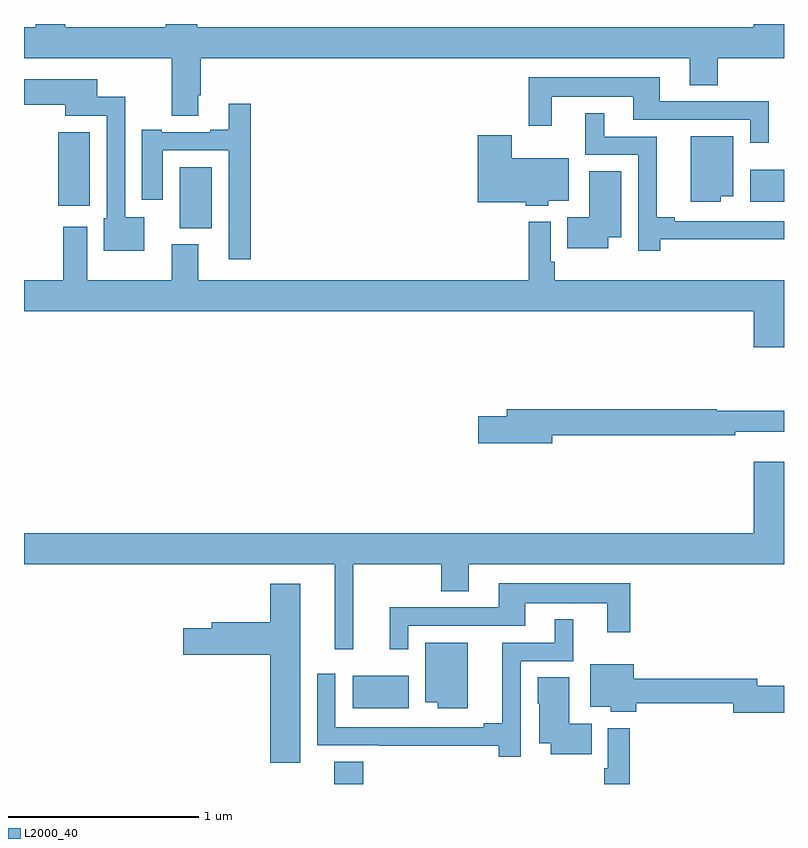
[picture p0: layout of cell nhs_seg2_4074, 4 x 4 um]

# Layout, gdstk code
import gdstk
lib = gdstk.Library(unit=1e-6, precision=1e-09)
def R(c, l, rs):  # rectangles x0, y0, x1, y1
    for r in rs: c.add(gdstk.rectangle(r[:2], r[2:], *l))
def P(c, l, *ps):  # polygons
    for p in ps: c.add(gdstk.Polygon(p, *l))
L2000_40 = (2000, 40)

nhs_seg2_4074 = lib.new_cell('nhs_seg2_4074')
R(nhs_seg2_4074, L2000_40, [(330.632,659.8,330.785,659.918), (330.731,660.2,331.024,660.37), (329.819,662.726,329.989,663.046), (329.18,662.843,329.347,663.229), (332.822,662.864,333,663.034)])
P(nhs_seg2_4074, L2000_40, [(329.917,663.424),(329.93,663.424),(329.93,663.62),(332.504,663.62),(332.504,663.478),(332.652,663.478),(332.652,663.62),(333,663.62),(333,663.8),(332.84,663.8),(332.84,663.784),(329.912,663.784),(329.912,663.8),(329.747,663.8),(329.747,663.784),(329.216,663.784),(329.216,663.8),(329.063,663.8),(329.063,663.784),(329,663.784),(329,663.62),(329.777,663.62),(329.777,663.316),(329.917,663.316)],
  [(332.921,663.393),(332.347,663.393),(332.347,663.52),(331.656,663.52),(331.656,663.264),(331.777,663.264),(331.777,663.416),(332.207,663.416),(332.207,663.297),(332.823,663.297),(332.823,663.174),(332.921,663.174)],
  [(329.632,662.782),(329.532,662.782),(329.532,663.416),(329.386,663.416),(329.386,663.508),(329,663.508),(329,663.374),(329.216,663.374),(329.216,663.318),(329.436,663.318),(329.436,662.778),(329.42,662.778),(329.42,662.606),(329.632,662.606)],
  [(330.194,663.379),(330.077,663.379),(330.077,663.244),(329.981,663.244),(329.981,663.231),(329.725,663.231),(329.725,663.244),(329.621,663.244),(329.621,662.874),(329.731,662.874),(329.731,663.135),(330.078,663.135),(330.078,662.562),(330.194,662.562)],
  [(332.348,662.666),(332.978,662.666),(332.978,662.667),(333,662.667),(333,662.763),(332.425,662.763),(332.425,662.783),(332.33,662.783),(332.33,663.207),(332.053,663.207),(332.053,663.331),(331.955,663.331),(331.955,663.111),(332.232,663.111),(332.232,662.607),(332.348,662.607)],
  [(331.758,662.87),(331.867,662.87),(331.867,663.094),(331.566,663.094),(331.566,663.214),(331.388,663.214),(331.388,662.861),(331.641,662.861),(331.641,662.843),(331.758,662.843)],
  [(332.668,662.894),(332.734,662.894),(332.734,663.208),(332.51,663.208),(332.51,662.864),(332.668,662.864)],
  [(332.074,662.678),(332.143,662.678),(332.143,663.026),(331.976,663.026),(331.976,662.782),(331.858,662.782),(331.858,662.621),(332.074,662.621)],
  [(333,662.452),(331.793,662.452),(331.793,662.548),(331.773,662.548),(331.773,662.758),(331.657,662.758),(331.657,662.452),(329.917,662.452),(329.917,662.641),(329.777,662.641),(329.777,662.452),(329.332,662.452),(329.332,662.734),(329.207,662.734),(329.207,662.452),(329,662.452),(329,662.288),(332.84,662.288),(332.84,662.1),(333,662.1)],
  [(331.78,661.636),(332.744,661.636),(332.744,661.655),(333,661.655),(333,661.765),(332.645,661.765),(332.645,661.772),(331.541,661.772),(331.541,661.736),(331.392,661.736),(331.392,661.594),(331.78,661.594)],
  [(330.734,660.956),(331.195,660.956),(331.195,660.814),(331.342,660.814),(331.342,660.956),(333,660.956),(333,661.495),(332.84,661.495),(332.84,661.12),(329,661.12),(329,660.956),(330.635,660.956),(330.635,660.51),(330.734,660.51)],
  [(331.023,660.633),(331.639,660.633),(331.639,660.752),(332.069,660.752),(332.069,660.6),(332.191,660.6),(332.191,660.856),(331.499,660.856),(331.499,660.729),(330.926,660.729),(330.926,660.51),(331.023,660.51)],
  [(330.454,660.853),(330.296,660.853),(330.296,660.651),(329.987,660.651),(329.987,660.621),(329.838,660.621),(329.838,660.479),(330.296,660.479),(330.296,659.913),(330.454,659.913)],
  [(331.614,660.447),(331.891,660.447),(331.891,660.667),(331.793,660.667),(331.793,660.543),(331.517,660.543),(331.517,660.119),(331.421,660.119),(331.421,660.099),(330.639,660.099),(330.639,660.379),(330.543,660.379),(330.543,660.003),(330.868,660.003),(330.868,660.002),(331.498,660.002),(331.498,659.943),(331.614,659.943)],
  [(331.336,660.544),(331.112,660.544),(331.112,660.23),(331.178,660.23),(331.178,660.2),(331.336,660.2)],
  [(333,660.317),(332.86,660.317),(332.86,660.353),(332.209,660.353),(332.209,660.43),(331.979,660.43),(331.979,660.206),(332.088,660.206),(332.088,660.179),(332.222,660.179),(332.222,660.225),(332.732,660.225),(332.732,660.175),(333,660.175)],
  [(331.988,660.118),(331.87,660.118),(331.87,660.362),(331.703,660.362),(331.703,660.222),(331.712,660.222),(331.712,660.014),(331.772,660.014),(331.772,659.957),(331.988,659.957)],
  [(332.189,660.094),(332.073,660.094),(332.073,659.884),(332.053,659.884),(332.053,659.8),(332.189,659.8)])

lib.write_gds('nhs_seg2_4074.gds')
